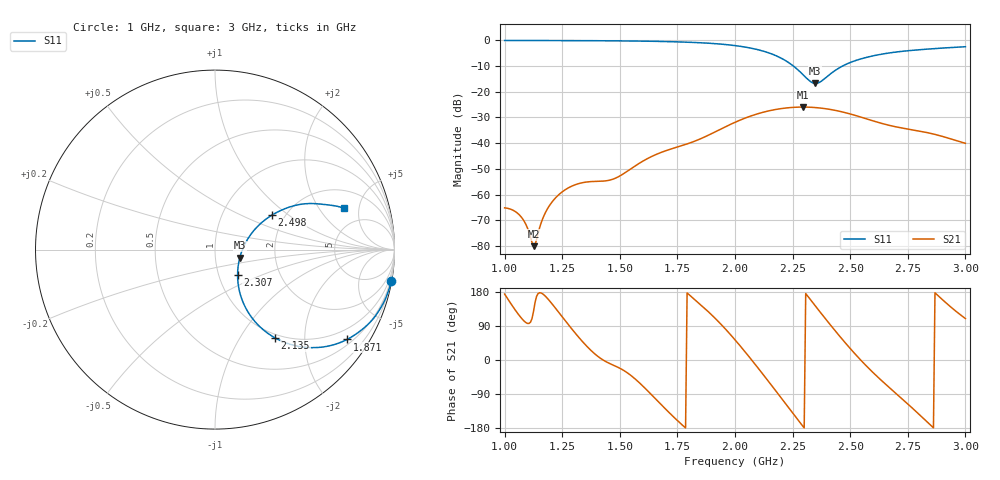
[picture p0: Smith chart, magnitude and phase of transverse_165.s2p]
! TOUCHSTONE file generated by CST MICROWAVE STUDIO
! Date and time: Tue Mar 11 13:57:18 2025
! Project name: transverse.cst
! Parameters = {Fracture=1; B=10; D=160; F=15; Feed=2.85625; L=100; M=30; R=0.384908; S=1; Theta=180; length=57.125; wave=114.25}
! Header version: 2024
! Port assignment regex: !\s*Touchstone port\s*([0-9]+)\s*=\s*(CST MWS port|CST DES external port|CST DES block port)\s*(.+)\s* \(\"(.*)\"\)(\s*mode\s*([0-9]+))?.*
! Touchstone port assignment:
! Touchstone port 1 = CST MWS port 1 ("")
! Touchstone port 2 = CST MWS port 2 ("")
# GHz S MA R 50
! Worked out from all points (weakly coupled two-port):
!   304 points, 1 GHz to 3 GHz, reference 50 ohm
!   highest |S21| = -25.95 dB at 2.294 GHz (marker M1); lowest = -80.1 dB at 1.125 GHz (marker M2)
!   lowest |S11| = -16.8 dB at 2.347 GHz (marker M3), VSWR 1.34, Z = 65.7 - j6.15 ohm
!   |S11| at or under -10 dB: 2.254 GHz to 2.466 GHz (212.6 MHz wide, 9.01 % of centre)
!   S12 and S22 are empty: the file has one direction only
!   S11 on the Smith chart (normalised r, x): 1 GHz: 0, -11; 1.871 GHz: 0.65, -3.12; 2.135 GHz: 0.94, -1.43; 2.307 GHz: 1.23, -0.37; 2.498 GHz: 1.71, +0.76; 3 GHz: 3.23, +3.46
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1  0.9975 -10.0  0.000551 174.1  0 0.0  0 0.0
1.07261  0.9967 -11.0  0.0003637 110.7  0 0.0  0 0.0
1.09901  0.9964 -11.4  0.0002243 96.6  0 0.0  0 0.0
1.12541  0.996 -11.8  9.89e-05 127.9  0 0.0  0 0.0
1.13201  0.9959 -11.9  0.0001043 151.4  0 0.0  0 0.0
1.16502  0.9951 -12.5  0.0003363 174.6  0 0.0  0 0.0
1.20462  0.9939 -13.1  0.0007054 149.1  0 0.0  0 0.0
1.26403  0.992 -14.1  0.001249 103.1  0 0.0  0 0.0
1.33663  0.9895 -15.5  0.001696 49.5  0 0.0  0 0.0
1.47525  0.9809 -18.7  0.002029 -14.6  0 0.0  0 0.0
1.66667  0.957 -24.6  0.006269 -109.7  0 0.0  0 0.0
1.87129  0.8897 -34.2  0.0134 134.7  0 0.0  0 0.0
2.0033  0.789 -43.7  0.02586 51.0  0 0.0  0 0.0
2.13531  0.5944 -55.8  0.04137 -48.6  0 0.0  0 0.0
2.22112  0.3996 -62.1  0.04837 -116.5  0 0.0  0 0.0
2.29373  0.2185 -54.3  0.05043 -174.2  0 0.0  0 0.0
2.30693  0.1909 -48.8  0.05037 175.4  0 0.0  0 0.0
2.33993  0.1477 -24.6  0.04964 149.5  0 0.0  0 0.0
2.34653  0.1453 -18.4  0.0494 144.3  0 0.0  0 0.0
2.49835  0.3685 31.2  0.03719 31.5  0 0.0  0 0.0
2.66997  0.5703 26.7  0.02219 -72.8  0 0.0  0 0.0
3  0.753 17.9  0.009939 109.4  0 0.0  0 0.0
